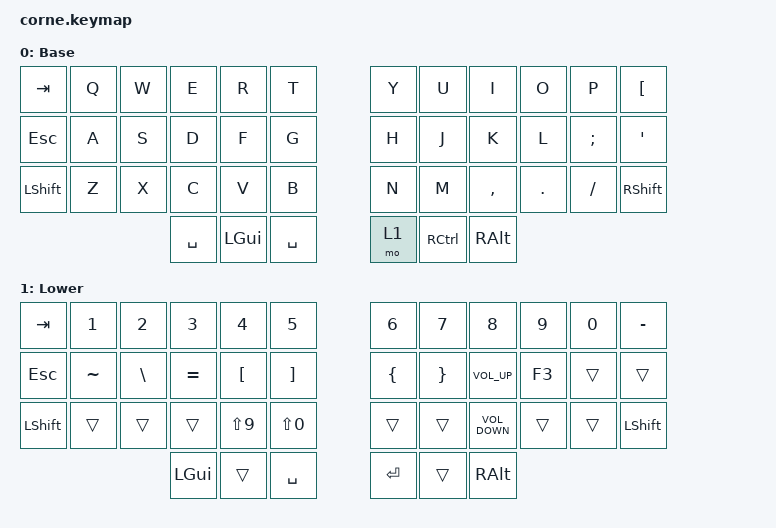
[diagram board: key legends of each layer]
/*
 * Copyright (c) 2020 The ZMK Contributors
 *
 * SPDX-License-Identifier: MIT
 */

#include <behaviors.dtsi>
#include <dt-bindings/zmk/keys.h>

/ {
    behaviors {
        hmr: hmr {
            compatible = "zmk,behavior-hold-tap";
            label = "HMR";
            bindings = <&kp>, <&kp>;

            #binding-cells = <2>;
            tapping-term-ms = <280>;
            quick-tap-ms = <175>;
            flavor = "balanced";
            hold-trigger-on-release;
            hold-trigger-key-positions = <0 1 2 3 4 5 12 13 14 15 16 17 24 25 26 27 28 29 36 37 38 39 40 41>;
        };

        hml: hml {
            compatible = "zmk,behavior-hold-tap";
            label = "HML";
            bindings = <&kp>, <&kp>;

            #binding-cells = <2>;
            tapping-term-ms = <280>;
            quick-tap-ms = <175>;
            flavor = "balanced";
            hold-trigger-on-release;
            hold-trigger-key-positions = <6 7 8 9 10 11 18 19 20 21 22 23 30 31 32 33 34 35 39 40 41 36 37 38 39>;
        };
    };

    combos {
        compatible = "zmk,combos";

        caps-enter {
            bindings = <&kp ENTER>;
            key-positions = <12 16>;
        };

        caps-delete {
            bindings = <&kp BACKSPACE>;
            key-positions = <15 12>;
        };

        caps-delete-word {
            bindings = <&kp LA(BACKSPACE)>;
            key-positions = <12 2>;
        };

        left-arrow {
            bindings = <&kp LEFT_ARROW>;
            key-positions = <12 18>;
        };

        down-arrow {
            bindings = <&kp DOWN_ARROW>;
            key-positions = <12 19>;
        };

        up-arrow {
            bindings = <&kp UP_ARROW>;
            key-positions = <12 20>;
        };

        right-arrow {
            bindings = <&kp RIGHT_ARROW>;
            key-positions = <12 21>;
        };

        start-line {
            bindings = <&kp LG(LEFT_ARROW)>;
            key-positions = <12 8>;
        };

        end-line {
            bindings = <&kp LG(RIGHT_ARROW)>;
            key-positions = <12 9>;
        };
    };

    keymap {
        compatible = "zmk,keymap";

        default_layer {
            // -----------------------------------------------------------------------------------------
            // |  TAB |  Q  |  W  |  E  |  R  |  T  |   |  Y  |  U   |  I  |  O  |  P  | BKSP |
            // | CTRL |  A  |  S  |  D  |  F  |  G  |   |  H  |  J   |  K  |  L  |  ;  |  '   |
            // | SHFT |  Z  |  X  |  C  |  V  |  B  |   |  N  |  M   |  ,  |  .  |  /  | ESC  |
            //                    | GUI | LWR | SPC |   | ENT | RSE  | ALT |

            display-name = "Base";
            bindings = <
&kp TAB     &kp Q  &kp W  &kp E      &kp R         &kp T        &kp Y  &kp U              &kp I      &kp O    &kp P     &kp LEFT_BRACKET
&kp ESCAPE  &kp A  &kp S  &kp D      &kp F         &kp G        &kp H  &kp J              &kp K      &kp L    &kp SEMI  &kp SQT
&kp LSHFT   &kp Z  &kp X  &kp C      &kp V         &kp B        &kp N  &kp M              &kp COMMA  &kp DOT  &kp FSLH  &kp RIGHT_SHIFT
                          &kp SPACE  &kp LEFT_GUI  &kp SPACE    &mo 1  &kp RIGHT_CONTROL  &kp RALT
            >;
        };

        lower_layer {
            // -----------------------------------------------------------------------------------------
            // |  TAB |  1  |  2  |  3  |  4  |  5  |   |  6  |  7  |  8  |  9  |  0  | BKSP |
            // | BTCLR| BT1 | BT2 | BT3 | BT4 | BT5 |   | LFT | DWN |  UP | RGT |     |      |
            // | SHFT |     |     |     |     |     |   |     |     |     |     |     |      |
            //                    | GUI |     | SPC |   | ENT |     | ALT |

            display-name = "Lower";
            bindings = <
&kp TAB     &kp N1     &kp N2         &kp N3     &kp N4            &kp N5               &kp N6          &kp N7           &kp N8             &kp N9  &kp N0  &kp MINUS
&kp ESCAPE  &kp TILDE  &kp BACKSLASH  &kp EQUAL  &kp LEFT_BRACKET  &kp RIGHT_BRACKET    &kp LEFT_BRACE  &kp RIGHT_BRACE  &kp C_VOLUME_UP    &kp F3  &trans  &trans
&kp LSHFT   &trans     &trans         &trans     &kp LS(N9)        &kp LS(N0)           &trans          &trans           &kp C_VOLUME_DOWN  &trans  &trans  &kp LEFT_SHIFT
                                      &kp LGUI   &trans            &kp SPACE            &kp RET         &trans           &kp RALT
            >;
        };
    };
};
